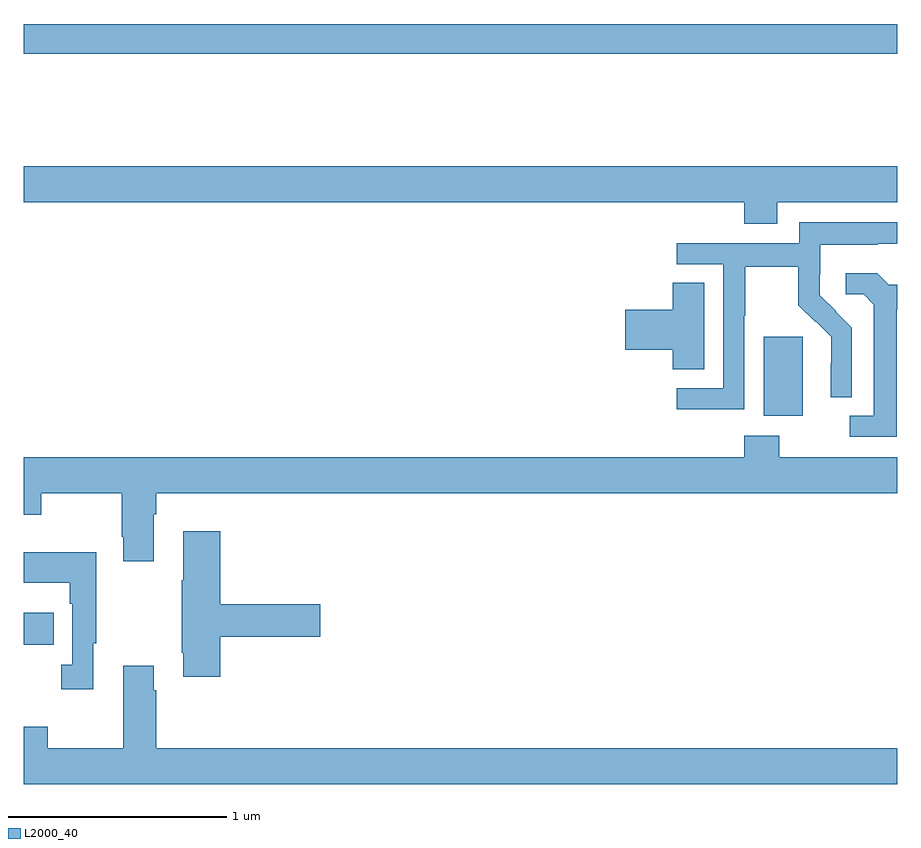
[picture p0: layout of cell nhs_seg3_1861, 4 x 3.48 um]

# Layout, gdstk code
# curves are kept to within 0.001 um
import gdstk
lib = gdstk.Library(unit=1e-6, precision=1e-09)
def R(c, l, rs):  # rectangles x0, y0, x1, y1
    for r in rs: c.add(gdstk.rectangle(r[:2], r[2:], *l))
def P(c, l, *ps):  # polygons
    for p in ps: c.add(gdstk.Polygon(p, *l))
L2000_40 = (2000, 40)

nhs_seg3_1861 = lib.new_cell('nhs_seg3_1861')
R(nhs_seg3_1861, L2000_40, [(207,701.554,207.137,701.701), (210.389,702.602,210.568,702.963), (207,704.26,211,704.396)])
P(nhs_seg3_1861, L2000_40, [(210.451,703.58),(211,703.58),(211,703.744),(207,703.744),(207,703.58),(210.299,703.58),(210.299,703.481),(210.451,703.481)],
  [(210.3,703.06),(210.303,703.06),(210.303,703.284),(210.547,703.284),(210.547,703.109),(210.624,703.032),(210.627,703.035),(210.698,702.965),(210.698,702.842),(210.696,702.842),(210.696,702.688),(210.792,702.688),(210.792,703.006),(210.646,703.154),(210.646,703.251),(210.648,703.251),(210.648,703.385),(210.911,703.385),(210.911,703.389),(211,703.389),(211,703.489),(210.552,703.489),(210.552,703.392),(209.991,703.392),(209.991,703.296),(210.204,703.296),(210.204,702.729),(209.991,702.729),(209.991,702.631),(210.3,702.631)],
  [(210.997,703.088),(211,703.088),(211,703.203),(210.96,703.203),(210.908,703.255),(210.765,703.255),(210.765,703.158),(210.846,703.158),(210.893,703.111),(210.893,702.603),(210.783,702.603),(210.783,702.507),(210.997,702.507)],
  [(210.115,703.211),(209.972,703.211),(209.972,703.088),(209.754,703.088),(209.754,702.905),(209.972,702.905),(209.972,702.814),(210.115,702.814)],
  [(207.595,702.152),(207.608,702.152),(207.608,702.248),(211,702.248),(211,702.412),(210.459,702.412),(210.459,702.511),(210.299,702.511),(210.299,702.412),(207,702.412),(207,702.149),(207.081,702.149),(207.081,702.248),(207.448,702.248),(207.448,702.049),(207.455,702.049),(207.455,701.937),(207.595,701.937)],
  [(207.899,701.591),(208.357,701.591),(208.357,701.738),(207.899,701.738),(207.899,702.073),(207.731,702.073),(207.731,701.849),(207.724,701.849),(207.724,701.518),(207.731,701.518),(207.731,701.406),(207.899,701.406)],
  [(207.319,701.561),(207.331,701.561),(207.331,701.977),(207,701.977),(207,701.837),(207.21,701.837),(207.21,701.741),(207.222,701.741),(207.222,701.462),(207.171,701.462),(207.171,701.349),(207.319,701.349)],
  [(211,701.08),(207.608,701.08),(207.608,701.345),(207.595,701.345),(207.595,701.458),(207.455,701.458),(207.455,701.08),(207.111,701.08),(207.111,701.179),(207,701.179),(207,700.916),(211,700.916)])

lib.write_gds('nhs_seg3_1861.gds')
